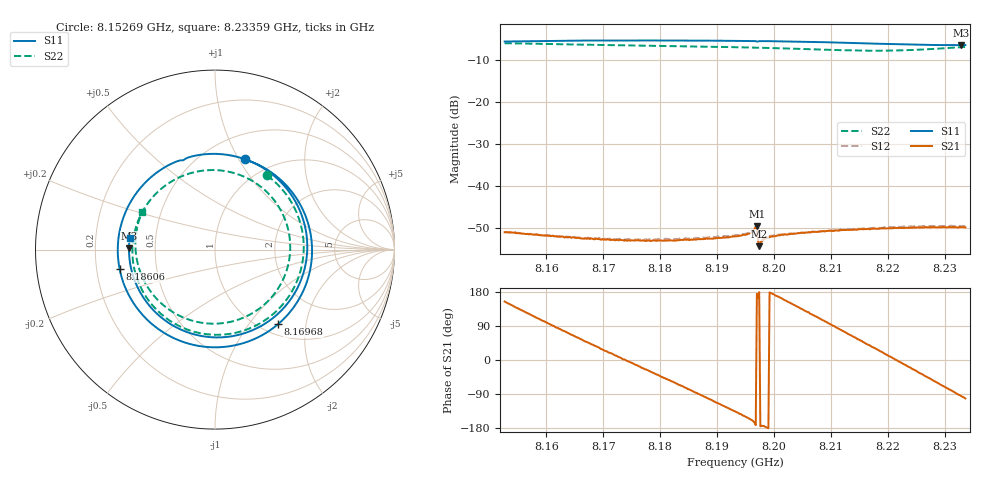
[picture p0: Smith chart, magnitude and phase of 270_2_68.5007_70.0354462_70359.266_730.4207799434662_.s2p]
#  HZ  S  RI  R  50.00
! Rohde & Schwarz Vector Network Analyzer
! Rohde-Schwarz,ZNB20-2Port,1311601062101988,3.16
! Created: UTC 3/20/2024, 5:00:43 PM
! freq[Hz]  re:S11  im:S11  re:S21  im:S21  re:S12  im:S12  re:S22  im:S22
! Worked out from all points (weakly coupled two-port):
!   401 points, 8.15269 GHz to 8.23359 GHz, reference 50 ohm
!   highest |S21| = -49.59 dB at 8.19698 GHz (marker M1); lowest = -54.3 dB at 8.19739 GHz (marker M2)
!   lowest |S11| = -6.4 dB at 8.23278 GHz (marker M3), VSWR 2.84, Z = 17.6 + j0.346 ohm
!   |S11| at or under -10 dB: nowhere
!   |S22| runs from -7.7 to -5.9 dB; largest |S21 - S12| = 0.00026
!   S11 on the Smith chart (normalised r, x): 8.15269 GHz: 0.76, +1.06; 8.16968 GHz: 1.18, -1.40; 8.18606 GHz: 0.30, -0.09; 8.23359 GHz: 0.35, +0.06
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8.15269e9  0.1652 0.5024  -0.00255 0.00122  -0.00253 0.00128  0.29 0.4129
8.159971e9  0.5082 0.1777  -0.000409 0.00255  -0.0004 0.00257  0.4942 0.028
8.16624e9  0.4906 -0.2325  0.0014 0.00192  0.00141 0.00203  0.3687 -0.3155
8.169678e9  0.3508 -0.4159  0.00202 0.00111  0.00206 0.00118  0.2073 -0.4329
8.174735e9  0.0371 -0.5432  0.00222 -0.000222  0.00231 -0.000235  -0.077 -0.4668
8.179791e9  -0.2939 -0.4575  0.0017 -0.00147  0.00173 -0.00156  -0.3259 -0.3344
8.18606e9  -0.5318 -0.1069  0.0002 -0.0023  0.000178 -0.00239  -0.4601 -0.0203
8.189499e9  -0.5249 0.1313  -0.000799 -0.00226  -0.00087 -0.00232  -0.4259 0.1664
8.193139e9  -0.4061 0.3546  -0.00181 -0.00176  -0.00193 -0.00175  -0.3094 0.3303
8.196577e9  -0.2075 0.4933  -0.00298 -0.000777  -0.00304 -0.000654  -0.1425 0.4241
8.196982e9  -0.1791 0.4976  -0.0033 0.0003  -0.00335 0.000439  -0.1207 0.4299
8.197386e9  -0.1606 0.5085  -0.00193 3.56e-05  -0.00197 0.000112  -0.0986 0.435
8.201836e9  0.1515 0.5087  -0.00247 0.00101  -0.00243 0.0011  0.1501 0.4112
8.20669e9  0.423 0.3077  -0.00143 0.0025  -0.00135 0.00251  0.3603 0.2299
8.209926e9  0.5081 0.0951  -0.000207 0.00293  -0.000196 0.00296  0.418 0.0468
8.213162e9  0.4916 -0.1341  0.00115 0.00279  0.00121 0.00281  0.3875 -0.1479
8.217004e9  0.3435 -0.3641  0.00249 0.00184  0.0026 0.00179  0.2377 -0.3356
8.22024e9  0.1384 -0.4733  0.00311 0.000546  0.00322 0.000428  0.0417 -0.4099
8.225701e9  -0.2427 -0.4182  0.00262 -0.00186  0.00263 -0.00202  -0.2995 -0.2995
8.229341e9  -0.4215 -0.2296  0.00131 -0.00294  0.00122 -0.0031  -0.4287 -0.0857
8.232779e9  -0.479 0.00756  -0.000256 -0.00324  -0.000464 -0.00331  -0.4261 0.1534
8.233588e9  -0.475 0.0651  -0.000641 -0.00316  -0.000844 -0.00322  -0.4069 0.2071
